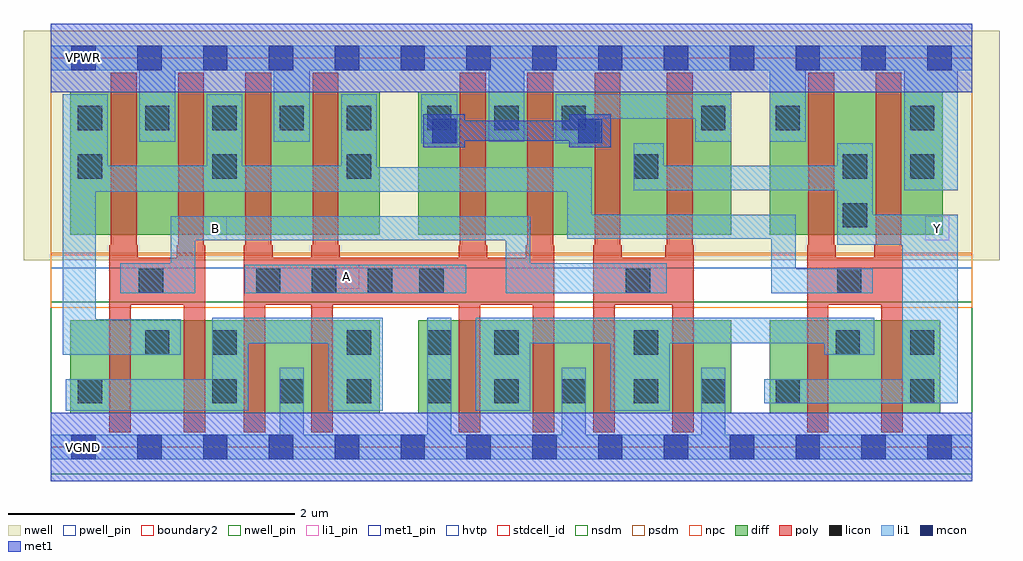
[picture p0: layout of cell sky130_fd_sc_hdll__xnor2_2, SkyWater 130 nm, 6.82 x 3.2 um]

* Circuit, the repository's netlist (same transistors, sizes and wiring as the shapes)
* Copyright 2020 The SkyWater PDK Authors
*
* Licensed under the Apache License, Version 2.0 (the "License");
* you may not use this file except in compliance with the License.
* You may obtain a copy of the License at
*
*     https://www.apache.org/licenses/LICENSE-2.0
*
* Unless required by applicable law or agreed to in writing, software
* distributed under the License is distributed on an "AS IS" BASIS,
* WITHOUT WARRANTIES OR CONDITIONS OF ANY KIND, either express or implied.
* See the License for the specific language governing permissions and
* limitations under the License.
*
* SPDX-License-Identifier: Apache-2.0

.SUBCKT sky130_fd_sc_hdll__xnor2_2 A B VGND VNB VPB VPWR Y
*.PININFO A:I B:I VGND:I VNB:I VPB:I VPWR:I Y:O
MMNnand0 VGND A sndNA VNB sky130_fd_pr__nfet_01v8 m=2 w=0.65U l=0.15U mult=1 sa=0.265
+ sb=0.265 sd=0.28 area=0.063 perim=1.14
MMNnand1 sndNA B inand VNB sky130_fd_pr__nfet_01v8 m=2 w=0.65U l=0.15U mult=1 sa=0.265
+ sb=0.265 sd=0.28 area=0.063 perim=1.14
MMNaoi10 nmid A VGND VNB sky130_fd_pr__nfet_01v8 m=2 w=0.65U l=0.15U mult=1 sa=0.265
+ sb=0.265 sd=0.28 area=0.063 perim=1.14
MMNaoi11 nmid B VGND VNB sky130_fd_pr__nfet_01v8 m=2 w=0.65U l=0.15U mult=1 sa=0.265
+ sb=0.265 sd=0.28 area=0.063 perim=1.14
MMNaoi20 Y inand nmid VNB sky130_fd_pr__nfet_01v8 m=2 w=0.65U l=0.15U mult=1 sa=0.265
+ sb=0.265 sd=0.28 area=0.063 perim=1.14
MMPnand0 inand A VPWR VPB sky130_fd_pr__pfet_01v8_hvt m=2 w=1.0U l=0.18U mult=1
+ sa=0.265 sb=0.265 sd=0.28 area=0.063 perim=1.14
MMPnand1 inand B VPWR VPB sky130_fd_pr__pfet_01v8_hvt m=2 w=1.0U l=0.18U mult=1
+ sa=0.265 sb=0.265 sd=0.28 area=0.063 perim=1.14
MMPaoi10 VPWR A sndPA VPB sky130_fd_pr__pfet_01v8_hvt m=2 w=1.0U l=0.18U mult=1
+ sa=0.265 sb=0.265 sd=0.28 area=0.063 perim=1.14
MMPaoi11 sndPA B Y VPB sky130_fd_pr__pfet_01v8_hvt m=2 w=1.0U l=0.18U mult=1 sa=0.265
+ sb=0.265 sd=0.28 area=0.063 perim=1.14
MMPaoi20 Y inand VPWR VPB sky130_fd_pr__pfet_01v8_hvt m=2 w=1.0U l=0.18U mult=1
+ sa=0.265 sb=0.265 sd=0.28 area=0.063 perim=1.14
.ENDS sky130_fd_sc_hdll__xnor2_2

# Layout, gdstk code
import gdstk
lib = gdstk.Library(unit=1e-6, precision=1e-09)
def R(c, l, rs):  # rectangles x0, y0, x1, y1
    for r in rs: c.add(gdstk.rectangle(r[:2], r[2:], *l))
def A(c, l, x, y, w, h, nx, ny, dx, dy):  # array of equal rectangles
    R(c, l, [(x+i*dx, y+j*dy, x+i*dx+w, y+j*dy+h) for i in range(nx) for j in range(ny)])
def P(c, l, *ps):  # polygons
    for p in ps: c.add(gdstk.Polygon(p, *l))
nwell_pin = (64, 16)
nwell = (64, 20)
diff = (65, 20)
poly = (66, 20)
licon = (66, 44)
li1_pin = (67, 16)
li1 = (67, 20)
mcon = (67, 44)
met1_pin = (68, 16)
met1 = (68, 20)
hvtp = (78, 44)
stdcell_id = (81, 4)
nsdm = (93, 44)
psdm = (94, 20)
npc = (95, 20)
pwell_pin = (122, 16)
boundary2 = (236, 0)

sky130_fd_sc_hdll__xnor2 = lib.new_cell('sky130_fd_sc_hdll__xnor2_2')
R(sky130_fd_sc_hdll__xnor2, nwell_pin, [(0.145,2.635,0.315,2.805)])
R(sky130_fd_sc_hdll__xnor2, nwell, [(-0.19,1.305,6.63,2.91)])
R(sky130_fd_sc_hdll__xnor2, diff, [(0.135,0.235,2.3,0.885), (2.57,0.235,4.755,0.885), (5.025,0.235,6.215,0.885), (0.135,1.485,2.3,2.485), (2.57,1.485,4.755,2.485), (5.025,1.485,6.235,2.485)])
P(sky130_fd_sc_hdll__xnor2, poly, [(1.08,1.41),(1.07,1.41),(1.07,2.615),(0.89,2.615),(0.89,1.41),(0.88,1.41),(0.88,1.325),(0.61,1.325),(0.61,1.41),(0.6,1.41),(0.6,2.615),(0.42,2.615),(0.42,1.41),(0.41,1.41),(0.41,0.105),(0.56,0.105),(0.56,0.995),(0.93,0.995),(0.93,0.105),(1.08,0.105)],
  [(3.52,1.41),(3.51,1.41),(3.51,2.615),(3.33,2.615),(3.33,1.41),(3.32,1.41),(3.32,1.325),(3.05,1.325),(3.05,1.41),(3.04,1.41),(3.04,2.615),(2.86,2.615),(2.86,1.41),(2.85,1.41),(2.85,1.325),(2.02,1.325),(2.02,1.41),(2.01,1.41),(2.01,2.615),(1.83,2.615),(1.83,1.41),(1.82,1.41),(1.82,1.325),(1.55,1.325),(1.55,1.41),(1.54,1.41),(1.54,2.615),(1.36,2.615),(1.36,1.41),(1.35,1.41),(1.35,0.105),(1.5,0.105),(1.5,0.995),(1.82,0.995),(1.82,0.105),(1.97,0.105),(1.97,0.995),(2.85,0.995),(2.85,0.105),(3,0.105),(3,0.995),(3.37,0.995),(3.37,0.105),(3.52,0.105)],
  [(4.495,1.41),(4.485,1.41),(4.485,2.615),(4.305,2.615),(4.305,1.41),(4.295,1.41),(4.295,1.325),(3.99,1.325),(3.99,1.41),(3.98,1.41),(3.98,2.615),(3.8,2.615),(3.8,1.41),(3.79,1.41),(3.79,0.105),(3.94,0.105),(3.94,0.995),(4.345,0.995),(4.345,0.105),(4.495,0.105)],
  [(5.955,1.41),(5.945,1.41),(5.945,2.615),(5.765,2.615),(5.765,1.41),(5.755,1.41),(5.755,1.325),(5.485,1.325),(5.485,1.41),(5.475,1.41),(5.475,2.615),(5.295,2.615),(5.295,1.41),(5.285,1.41),(5.285,0.105),(5.435,0.105),(5.435,0.995),(5.805,0.995),(5.805,0.105),(5.955,0.105)])
A(sky130_fd_sc_hdll__xnor2, licon, 1.13, 0.305, 0.17, 0.17, 3, 1, 0.47, 0)
A(sky130_fd_sc_hdll__xnor2, licon, 2.63, 0.305, 0.17, 0.17, 3, 2, 0.47, 1.91)
A(sky130_fd_sc_hdll__xnor2, licon, 1.435, 1.075, 0.17, 0.17, 3, 1, 0.39, 0)
A(sky130_fd_sc_hdll__xnor2, licon, 0.19, 1.875, 0.17, 0.17, 3, 1, 0.94, 0)
A(sky130_fd_sc_hdll__xnor2, licon, 0.19, 2.215, 0.17, 0.17, 5, 1, 0.47, 0)
R(sky130_fd_sc_hdll__xnor2, licon, [(0.19,0.305,0.36,0.475), (4.075,0.305,4.245,0.475), (4.545,0.305,4.715,0.475), (5.065,0.305,5.235,0.475), (6.005,0.305,6.175,0.475), (0.66,0.645,0.83,0.815), (1.13,0.645,1.3,0.815), (2.07,0.645,2.24,0.815), (2.63,0.645,2.8,0.815), (3.1,0.645,3.27,0.815), (4.075,0.645,4.245,0.815), (5.485,0.645,5.655,0.815), (6.005,0.645,6.175,0.815), (0.615,1.075,0.785,1.245), (2.575,1.075,2.745,1.245), (4.02,1.075,4.19,1.245), (5.495,1.075,5.665,1.245), (5.535,1.535,5.705,1.705), (4.075,1.875,4.245,2.045), (5.535,1.875,5.705,2.045), (6.005,1.875,6.175,2.045), (4.545,2.215,4.715,2.385), (5.065,2.215,5.235,2.385), (6.005,2.215,6.175,2.385)])
R(sky130_fd_sc_hdll__xnor2, li1_pin, [(1.985,1.105,2.155,1.275), (1.06,1.445,1.23,1.615), (6.11,1.445,6.28,1.615)])
R(sky130_fd_sc_hdll__xnor2, li1, [(1.355,1.075,2.905,1.275), (2.59,2.125,2.84,2.465)])
P(sky130_fd_sc_hdll__xnor2, li1, [(2.32,0.905),(1.13,0.905),(1.13,0.475),(0.105,0.475),(0.105,0.255),(1.38,0.255),(1.38,0.725),(1.94,0.725),(1.94,0.255),(2.32,0.255)],
  [(4.755,2.465),(3.53,2.465),(3.53,2.125),(3.855,2.125),(3.855,2.295),(4.505,2.295),(4.505,2.135),(4.755,2.135)],
  [(5.745,1.245),(5.205,1.245),(5.205,1.625),(3.78,1.625),(3.78,1.955),(2.28,1.955),(2.28,2.465),(2.03,2.465),(2.03,1.965),(1.34,1.965),(1.34,2.465),(1.09,2.465),(1.09,1.965),(0.4,1.965),(0.4,2.465),(0.085,2.465),(0.085,0.645),(0.91,0.645),(0.91,0.895),(0.315,0.895),(0.315,1.785),(3.61,1.785),(3.61,1.455),(5.035,1.455),(5.035,1.075),(5.745,1.075)],
  [(5.755,0.905),(2.97,0.905),(2.97,0.255),(3.35,0.255),(3.35,0.725),(3.91,0.725),(3.91,0.255),(4.325,0.255),(4.325,0.725),(5.405,0.725),(5.405,0.645),(5.755,0.645)],
  [(6.34,1.625),(5.745,1.625),(5.745,2.125),(5.495,2.125),(5.495,1.965),(4.285,1.965),(4.285,2.125),(4.075,2.125),(4.075,1.795),(5.495,1.795),(5.495,1.415),(5.95,1.415),(5.95,0.475),(4.985,0.475),(4.985,0.305),(6.34,0.305)],
  [(6.44,2.805),(0,2.805),(0,2.635),(0.62,2.635),(0.62,2.135),(0.87,2.135),(0.87,2.635),(1.56,2.635),(1.56,2.135),(1.81,2.135),(1.81,2.635),(3.06,2.635),(3.06,2.135),(3.31,2.135),(3.31,2.635),(5.025,2.635),(5.025,2.135),(5.275,2.135),(5.275,2.635),(5.965,2.635),(5.965,1.795),(6.34,1.795),(6.34,2.635),(6.44,2.635)],
  [(6.44,0.085),(4.715,0.085),(4.715,0.555),(4.545,0.555),(4.545,0.085),(3.74,0.085),(3.74,0.555),(3.57,0.555),(3.57,0.085),(2.8,0.085),(2.8,0.905),(2.63,0.905),(2.63,0.085),(1.77,0.085),(1.77,0.555),(1.6,0.555),(1.6,0.085),(0,0.085),(0,-0.085),(6.44,-0.085)],
  [(4.305,1.285),(3.35,1.285),(3.35,1.615),(0.84,1.615),(0.84,1.285),(0.485,1.285),(0.485,1.075),(1.01,1.075),(1.01,1.445),(3.18,1.445),(3.18,1.075),(4.305,1.075)])
A(sky130_fd_sc_hdll__xnor2, mcon, 0.145, -0.085, 0.17, 0.17, 14, 2, 0.46, 2.72)
R(sky130_fd_sc_hdll__xnor2, mcon, [(2.665,2.125,2.835,2.295), (3.685,2.125,3.855,2.295)])
R(sky130_fd_sc_hdll__xnor2, met1_pin, [(0.145,-0.085,0.315,0.085), (0.145,2.635,0.315,2.805)])
R(sky130_fd_sc_hdll__xnor2, met1, [(0,-0.24,6.44,0.24), (0,2.48,6.44,2.96)])
P(sky130_fd_sc_hdll__xnor2, met1, [(3.915,2.325),(3.625,2.325),(3.625,2.28),(2.895,2.28),(2.895,2.325),(2.605,2.325),(2.605,2.095),(2.895,2.095),(2.895,2.14),(3.625,2.14),(3.625,2.095),(3.915,2.095)])
R(sky130_fd_sc_hdll__xnor2, hvtp, [(0,1.25,6.44,2.72)])
R(sky130_fd_sc_hdll__xnor2, stdcell_id, [(0,0,6.44,2.72)])
R(sky130_fd_sc_hdll__xnor2, nsdm, [(0,-0.19,6.44,1.015)])
R(sky130_fd_sc_hdll__xnor2, psdm, [(0,1.355,6.44,2.91)])
R(sky130_fd_sc_hdll__xnor2, npc, [(0,0.975,6.44,1.345)])
R(sky130_fd_sc_hdll__xnor2, pwell_pin, [(0.145,-0.085,0.315,0.085)])
R(sky130_fd_sc_hdll__xnor2, boundary2, [(0,0,6.44,2.72)])
sky130_fd_sc_hdll__xnor2.add(gdstk.Label('VGND', (0.23,0), layer=68, texttype=5))
sky130_fd_sc_hdll__xnor2.add(gdstk.Label('VPWR', (0.23,2.72), layer=68, texttype=5))
sky130_fd_sc_hdll__xnor2.add(gdstk.Label('Y', (6.195,1.53), layer=67, texttype=5))
sky130_fd_sc_hdll__xnor2.add(gdstk.Label('A', (2.07,1.19), layer=67, texttype=5))
sky130_fd_sc_hdll__xnor2.add(gdstk.Label('B', (1.15,1.53), layer=67, texttype=5))
sky130_fd_sc_hdll__xnor2.add(gdstk.Label('VPB', (0.23,2.72), layer=64, texttype=5))
sky130_fd_sc_hdll__xnor2.add(gdstk.Label('VNB', (0.23,0), layer=64, texttype=59))
sky130_fd_sc_hdll__xnor2.add(gdstk.Label('xnor2_2', (0,0), layer=83, texttype=44))

lib.write_gds('sky130_fd_sc_hdll__xnor2_2.gds')
